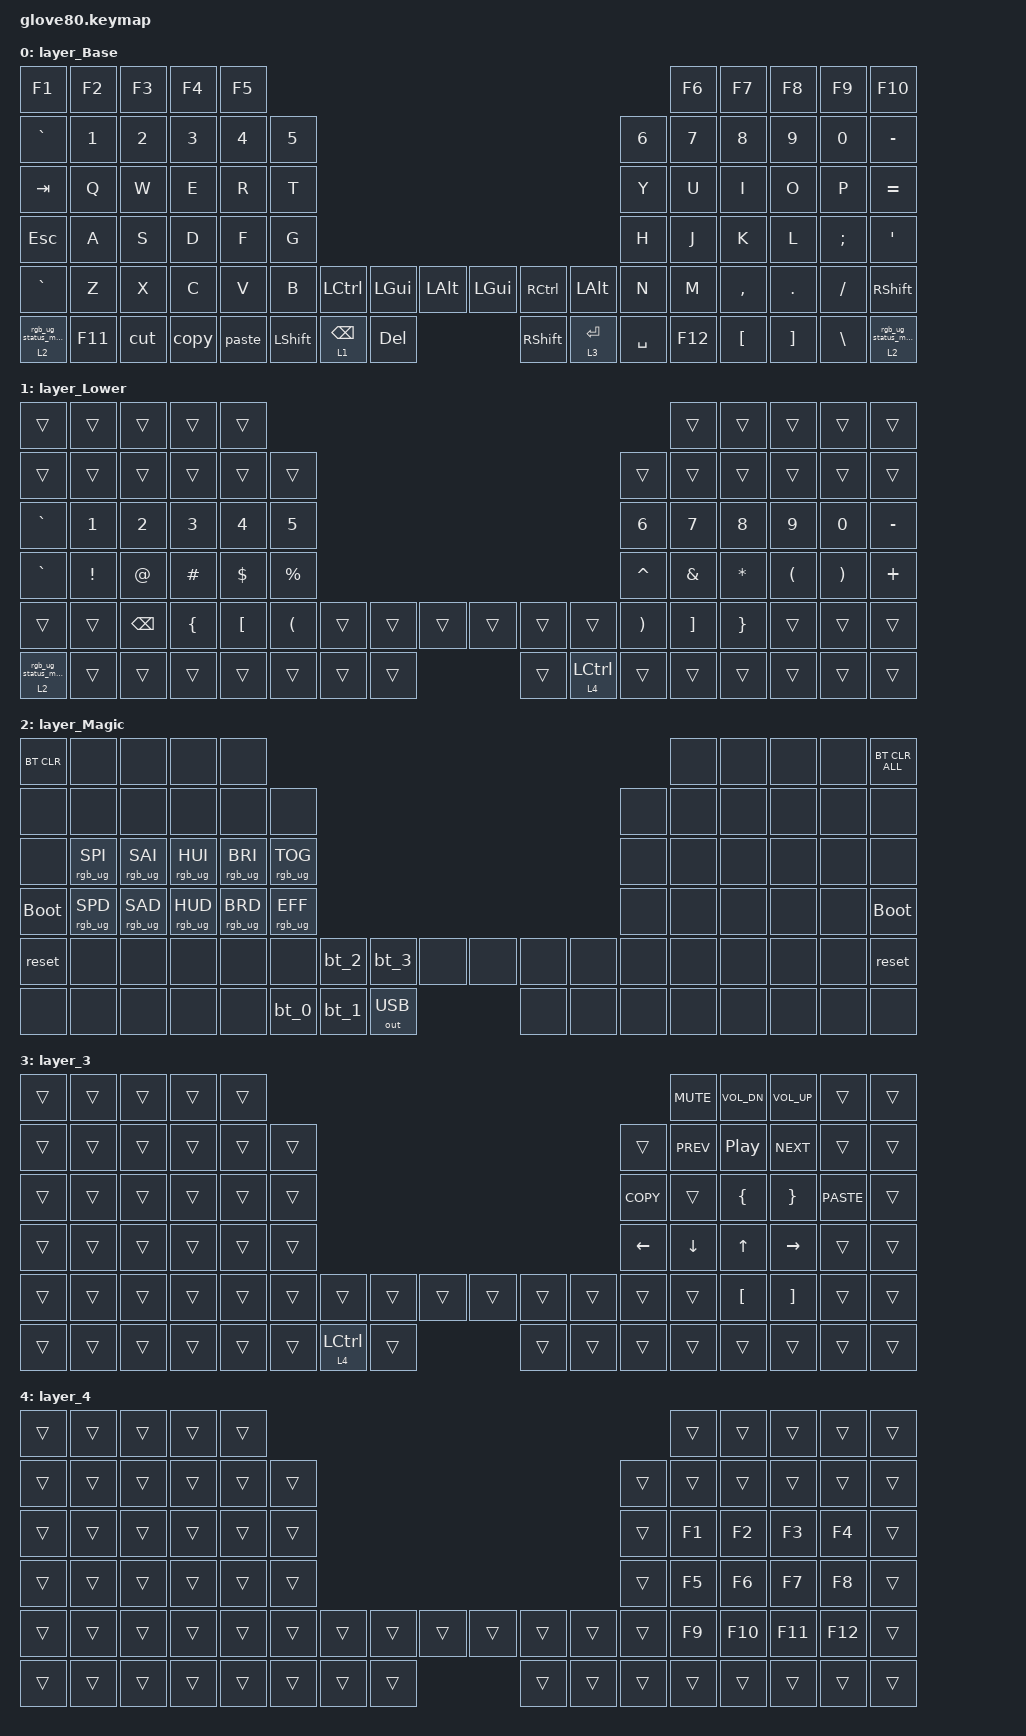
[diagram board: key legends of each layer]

/*
 * Copyright (c) 2020 The ZMK Contributors
 * Copyright (c) 2022 Innaworks Development Limited, trading as MoErgo
 *
 * SPDX-License-Identifier: MIT
 */


/* THIS FILE WAS GENERATED BY GLOVE80 LAYOUT EDITOR
 *
 * This file was generated automatically. You may or may not want to
 * edit it directly.
 */

#include <behaviors.dtsi>
/* Include all behaviour includes needed by system behaviors/macros */
#include <dt-bindings/zmk/outputs.h>

/* Include behaviour includes needed by key binds - automatically generated */
#include <dt-bindings/zmk/keys.h>
#include <dt-bindings/zmk/bt.h>
#include <dt-bindings/zmk/rgb.h>
#include <dt-bindings/zmk/outputs.h>


/ {
    /* Glove80 system behavior & macros */
    behaviors {
        // For the "layer" key, it'd nice to be able to use it as either a shift or a toggle.
        // Configure it as a tap dance, so the first tap (or hold) is a &mo and the second tap is a &to
        lower: tap_dance_0 {
            compatible = "zmk,behavior-tap-dance";
            label = "LAYER_TAP_DANCE";
            #binding-cells = <0>;
            tapping-term-ms = <200>;
            bindings = <&mo 1>, <&to 1>;
        };
    };
};

/ {
    macros {
        rgb_ug_status_macro: rgb_ug_status_macro_0 {
            label = "RGB_UG_STATUS";
            compatible = "zmk,behavior-macro";
            #binding-cells = <0>;
            bindings
                = <&rgb_ug RGB_STATUS>;
        };

        bt_0: bt_profile_macro_0 {
            label = "BT_0";
            compatible = "zmk,behavior-macro";
            #binding-cells = <0>;
            bindings
                = <&out OUT_BLE>,
                  <&bt BT_SEL 0>;
        };

        bt_1: bt_profile_macro_1 {
            label = "BT_1";
            compatible = "zmk,behavior-macro";
            #binding-cells = <0>;
            bindings
                = <&out OUT_BLE>,
                  <&bt BT_SEL 1>;
        };

        bt_2: bt_profile_macro_2 {
            label = "BT_2";
            compatible = "zmk,behavior-macro";
            #binding-cells = <0>;
            bindings
                = <&out OUT_BLE>,
                  <&bt BT_SEL 2>;
        };

        bt_3: bt_profile_macro_3 {
            label = "BT_3";
            compatible = "zmk,behavior-macro";
            #binding-cells = <0>;
            bindings
                = <&out OUT_BLE>,
                  <&bt BT_SEL 3>;
        };
    };
};

/ {
    magic: magic_hold_tap {
        compatible = "zmk,behavior-hold-tap";
        label = "MAGIC_HOLD_TAP";
        #binding-cells = <2>;
        flavor = "tap-preferred";
        tapping-term-ms = <200>;
        bindings = <&mo>, <&rgb_ug_status_macro>;
    };
};

    /* Custom Defined Behaviors */
/ {
    /* Macro to emit glove80 */
    macros {
        copy: copy {
            label = "copy";
            compatible = "zmk,behavior-macro";
            #binding-cells = <0>;
            bindings 
            = <&macro_press &kp LGUI>
            , <&macro_tap &kp C>
            , <&macro_release &kp LGUI>
            ;
        };
        paste: paste {
            label = "paste";
            compatible = "zmk,behavior-macro";
            #binding-cells = <0>;
            bindings 
            = <&macro_press &kp LGUI>
            , <&macro_tap &kp V>
            , <&macro_release &kp LGUI>
            ;
        };
        cut: cut {
            label = "cut";
            compatible = "zmk,behavior-macro";
            #binding-cells = <0>;
            bindings
            = <&macro_press &kp LGUI>
            , <&macro_tap &kp X>
            , <&macro_release &kp LGUI>
            ;
        };
        left_shift_block: left_shift_block {
            label = "left_shift_block";
            compatible = "zmk,behavior-macro";
            #binding-cells = <0>;
            bindings
            = <&macro_press &kp LGUI>
            , <&macro_tap &kp LBKT>
            , <&macro_release &kp LGUI>
            ;
        };
        right_shift_block: right_shift_block {
            label = "right_shift_block";
            compatible = "zmk,behavior-macro";
            #binding-cells = <0>;
            bindings
            = <&macro_press &kp LGUI>
            , <&macro_tap &kp RBKT>
            , <&macro_release &kp LGUI>
            ;
        };
        xcode_commit: xcode_commit {
            label = "xcode_commit";
            compatible = "zmk,behavior-macro";
            #binding-cells = <0>;
            bindings
            = <&macro_press &kp LGUI>
            , <&macro_press &kp LALT>
            , <&macro_tap &kp C>
            , <&macro_release &kp LALT>
            , <&macro_release &kp LGUI>
            ;
        };
        swift_arrow: swift_arrow {
            label = "swift_arrow";
            compatible = "zmk,behavior-macro";
            #binding-cells = <0>;
            bindings
            = <&kp MINUS>
            , <&kp GT>
            ;
        };
    };
};

    /* Automatically generated keymap */
/ {
    keymap {
        compatible = "zmk,keymap";


        layer_Base {
            bindings = <
     &kp F1   &kp F2  &kp F3  &kp F4  &kp F5                                                                                     &kp F6     &kp F7    &kp F8    &kp F9     &kp F10
  &kp GRAVE   &kp N1  &kp N2  &kp N3  &kp N4  &kp N5                                                                    &kp N6   &kp N7     &kp N8    &kp N9    &kp N0   &kp MINUS
    &kp TAB    &kp Q   &kp W   &kp E   &kp R   &kp T                                                                     &kp Y    &kp U      &kp I     &kp O     &kp P   &kp EQUAL
    &kp ESC    &kp A   &kp S   &kp D   &kp F   &kp G                                                                     &kp H    &kp J      &kp K     &kp L  &kp SEMI     &kp SQT
  &kp GRAVE    &kp Z   &kp X   &kp C   &kp V   &kp B  &kp LCTRL    &kp LGUI  &kp LALT   &kp LGUI  &kp RCTRL   &kp LALT   &kp N    &kp M  &kp COMMA   &kp DOT  &kp FSLH   &kp RSHFT
 &magic 2 0  &kp F11    &cut   &copy  &paste          &kp LSHFT  &lt 1 BSPC   &kp DEL  &kp RSHFT  &lt 3 RET  &kp SPACE          &kp F12   &kp LBKT  &kp RBKT  &kp BSLH  &magic 2 0
            >;
        };

        layer_Lower {
            bindings = <
     &trans    &trans    &trans    &trans    &trans                                                                               &trans    &trans    &trans    &trans     &trans
     &trans    &trans    &trans    &trans    &trans     &trans                                                          &trans    &trans    &trans    &trans    &trans     &trans
  &kp GRAVE    &kp N1    &kp N2    &kp N3    &kp N4     &kp N5                                                          &kp N6    &kp N7    &kp N8    &kp N9    &kp N0  &kp MINUS
  &kp GRAVE  &kp EXCL    &kp AT  &kp HASH  &kp DLLR  &kp PRCNT                                                       &kp CARET  &kp AMPS  &kp STAR  &kp LPAR  &kp RPAR   &kp PLUS
     &trans    &trans  &kp BSPC  &kp LBRC  &kp LBKT   &kp LPAR  &trans  &trans  &trans  &trans       &trans  &trans   &kp RPAR  &kp RBKT  &kp RBRC    &trans    &trans     &trans
 &magic 2 0    &trans    &trans    &trans    &trans             &trans  &trans  &trans  &trans  &lt 4 LCTRL  &trans               &trans    &trans    &trans    &trans     &trans
            >;
        };

        layer_Magic {
            bindings = <
  &bt BT_CLR            &none            &none            &none            &none                                                                                  &none   &none   &none   &none  &bt BT_CLR_ALL
       &none            &none            &none            &none            &none            &none                                                         &none   &none   &none   &none   &none           &none
       &none  &rgb_ug RGB_SPI  &rgb_ug RGB_SAI  &rgb_ug RGB_HUI  &rgb_ug RGB_BRI  &rgb_ug RGB_TOG                                                         &none   &none   &none   &none   &none           &none
 &bootloader  &rgb_ug RGB_SPD  &rgb_ug RGB_SAD  &rgb_ug RGB_HUD  &rgb_ug RGB_BRD  &rgb_ug RGB_EFF                                                         &none   &none   &none   &none   &none     &bootloader
      &reset            &none            &none            &none            &none            &none   &bt_2   &bt_3         &none   &none   &none   &none   &none   &none   &none   &none   &none          &reset
       &none            &none            &none            &none            &none                    &bt_0   &bt_1  &out OUT_USB   &none   &none   &none           &none   &none   &none   &none           &none
            >;
        };

        layer_3 {
            bindings = <
 &trans  &trans  &trans  &trans  &trans                                                                           &kp C_MUTE  &kp C_VOL_DN  &kp C_VOL_UP       &trans  &trans
 &trans  &trans  &trans  &trans  &trans  &trans                                                           &trans  &kp C_PREV      &kp C_PP    &kp C_NEXT       &trans  &trans
 &trans  &trans  &trans  &trans  &trans  &trans                                                       &kp K_COPY      &trans      &kp LBRC      &kp RBRC  &kp K_PASTE  &trans
 &trans  &trans  &trans  &trans  &trans  &trans                                                         &kp LEFT    &kp DOWN        &kp UP     &kp RIGHT       &trans  &trans
 &trans  &trans  &trans  &trans  &trans  &trans  &trans       &trans  &trans  &trans  &trans  &trans      &trans      &trans      &kp LBKT      &kp RBKT       &trans  &trans
 &trans  &trans  &trans  &trans  &trans          &trans  &lt 4 LCTRL  &trans  &trans  &trans  &trans                  &trans        &trans        &trans       &trans  &trans
            >;
        };

        layer_4 {
            bindings = <
 &trans  &trans  &trans  &trans  &trans                                                                  &trans   &trans   &trans   &trans  &trans
 &trans  &trans  &trans  &trans  &trans  &trans                                                  &trans  &trans   &trans   &trans   &trans  &trans
 &trans  &trans  &trans  &trans  &trans  &trans                                                  &trans  &kp F1   &kp F2   &kp F3   &kp F4  &trans
 &trans  &trans  &trans  &trans  &trans  &trans                                                  &trans  &kp F5   &kp F6   &kp F7   &kp F8  &trans
 &trans  &trans  &trans  &trans  &trans  &trans  &trans  &trans  &trans  &trans  &trans  &trans  &trans  &kp F9  &kp F10  &kp F11  &kp F12  &trans
 &trans  &trans  &trans  &trans  &trans          &trans  &trans  &trans  &trans  &trans  &trans          &trans   &trans   &trans   &trans  &trans
            >;
        };

    };
};
